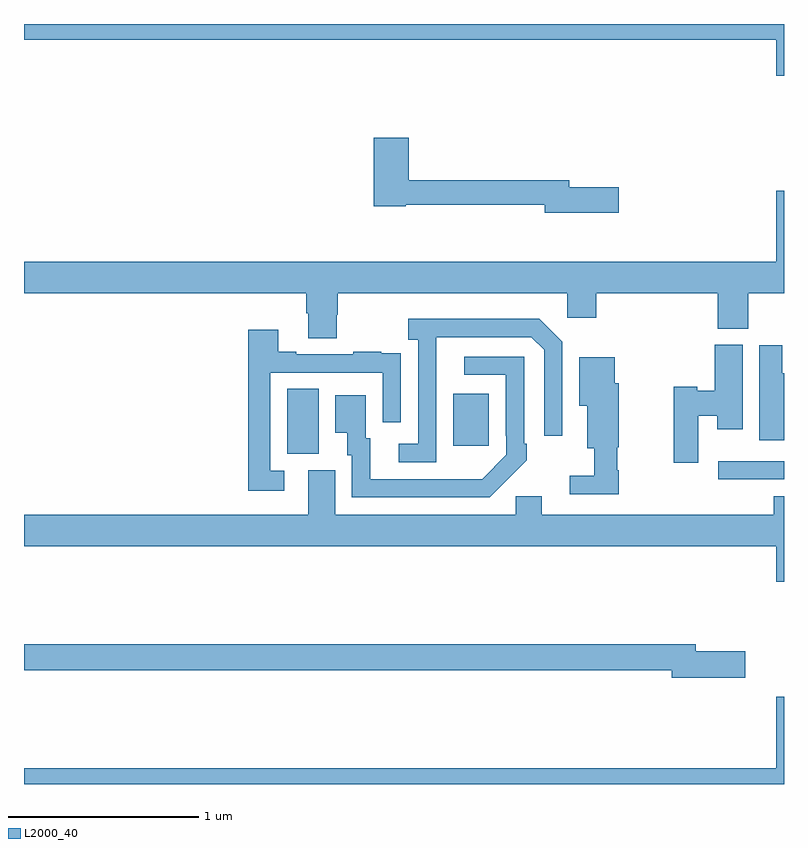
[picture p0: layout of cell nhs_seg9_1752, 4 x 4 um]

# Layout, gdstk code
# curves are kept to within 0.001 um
import gdstk
lib = gdstk.Library(unit=1e-6, precision=1e-09)
def R(c, l, rs):  # rectangles x0, y0, x1, y1
    for r in rs: c.add(gdstk.rectangle(r[:2], r[2:], *l))
def P(c, l, *ps):  # polygons
    for p in ps: c.add(gdstk.Polygon(p, *l))
L2000_40 = (2000, 40)

nhs_seg9_1752 = lib.new_cell('nhs_seg9_1752')
R(nhs_seg9_1752, L2000_40, [(212.655,1198.104,213,1198.2), (210.386,1198.237,210.55,1198.58), (211.259,1198.281,211.447,1198.555)])
P(nhs_seg9_1752, L2000_40, [(213,1200.5),(209,1200.5),(209,1200.416),(212.96,1200.416),(212.96,1200.228),(213,1200.228)],
  [(212.131,1199.642),(211.87,1199.642),(211.87,1199.678),(211.025,1199.678),(211.025,1199.902),(210.842,1199.902),(210.842,1199.542),(211.008,1199.542),(211.008,1199.55),(211.742,1199.55),(211.742,1199.507),(212.131,1199.507)],
  [(210.645,1198.971),(210.65,1198.971),(210.65,1199.084),(211.86,1199.084),(211.86,1198.953),(212.012,1198.953),(212.012,1199.084),(212.651,1199.084),(212.651,1198.897),(212.811,1198.897),(212.811,1199.084),(213,1199.084),(213,1199.623),(212.96,1199.623),(212.96,1199.248),(209,1199.248),(209,1199.084),(210.485,1199.084),(210.485,1198.978),(210.497,1198.978),(210.497,1198.846),(210.645,1198.846)],
  [(211.17,1198.651),(211.171,1198.851),(211.671,1198.851),(211.737,1198.785),(211.737,1198.332),(211.833,1198.332),(211.833,1198.827),(211.712,1198.948),(211.023,1198.948),(211.023,1198.838),(211.074,1198.838),(211.074,1198.29),(210.972,1198.29),(210.972,1198.194),(211.17,1198.194)],
  [(210.37,1198.149),(210.297,1198.149),(210.297,1198.665),(210.888,1198.665),(210.888,1198.404),(210.984,1198.404),(210.984,1198.658),(210.983,1198.658),(210.983,1198.767),(210.881,1198.767),(210.881,1198.774),(210.733,1198.774),(210.733,1198.761),(210.433,1198.761),(210.433,1198.774),(210.337,1198.774),(210.337,1198.891),(210.181,1198.891),(210.181,1198.044),(210.37,1198.044)],
  [(212.548,1198.439),(212.648,1198.439),(212.648,1198.368),(212.782,1198.368),(212.782,1198.812),(212.636,1198.812),(212.636,1198.569),(212.544,1198.569),(212.544,1198.592),(212.419,1198.592),(212.419,1198.191),(212.548,1198.191)],
  [(213,1198.663),(212.992,1198.663),(212.992,1198.81),(212.87,1198.81),(212.87,1198.31),(213,1198.31)],
  [(211.541,1198.099),(211.542,1198.098),(211.647,1198.203),(211.647,1198.291),(211.632,1198.291),(211.632,1198.749),(211.317,1198.749),(211.317,1198.653),(211.536,1198.653),(211.536,1198.333),(211.539,1198.333),(211.539,1198.233),(211.411,1198.105),(210.823,1198.104),(210.823,1198.32),(210.799,1198.32),(210.799,1198.546),(210.638,1198.546),(210.638,1198.349),(210.701,1198.349),(210.701,1198.23),(210.726,1198.23),(210.726,1198.008),(211.45,1198.008)],
  [(212.129,1198.151),(212.122,1198.151),(212.122,1198.272),(212.13,1198.272),(212.13,1198.608),(212.11,1198.608),(212.11,1198.747),(211.922,1198.747),(211.922,1198.49),(211.964,1198.49),(211.964,1198.268),(212.001,1198.268),(212.001,1198.123),(211.872,1198.123),(211.872,1198.026),(212.129,1198.026)],
  [(213,1198.015),(212.945,1198.015),(212.945,1197.916),(211.726,1197.916),(211.726,1198.014),(211.587,1198.014),(211.587,1197.916),(210.637,1197.916),(210.637,1198.152),(210.497,1198.152),(210.497,1197.916),(209,1197.916),(209,1197.752),(212.96,1197.752),(212.96,1197.564),(213,1197.564)],
  [(212.797,1197.2),(212.536,1197.2),(212.536,1197.236),(209,1197.236),(209,1197.1),(212.408,1197.1),(212.408,1197.058),(212.797,1197.058)],
  [(209,1196.5),(213,1196.5),(213,1196.959),(212.96,1196.959),(212.96,1196.584),(209,1196.584)])

lib.write_gds('nhs_seg9_1752.gds')
